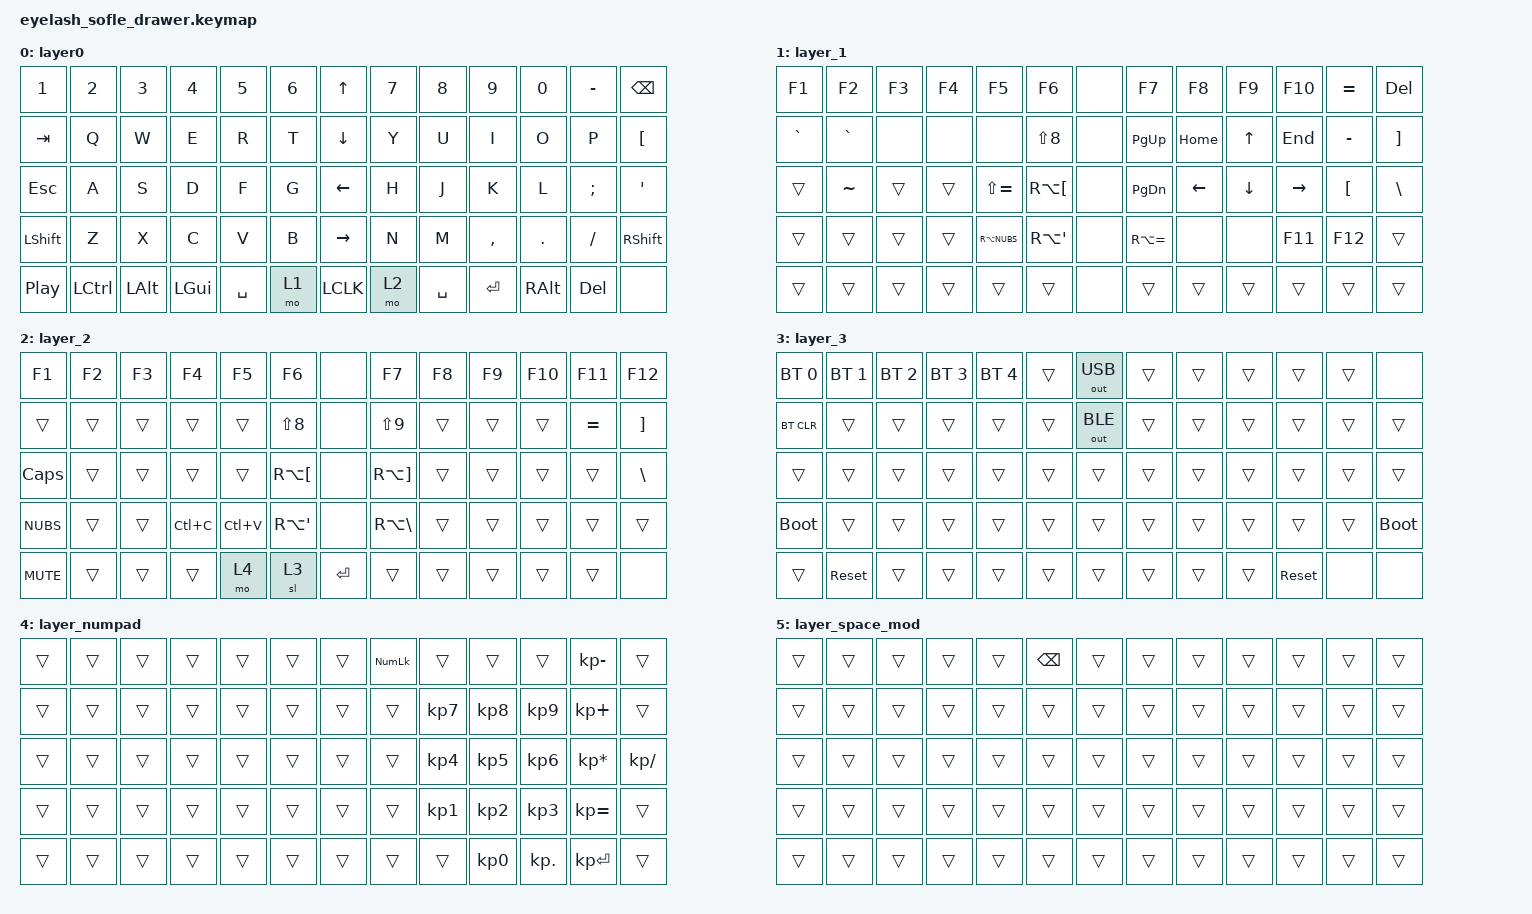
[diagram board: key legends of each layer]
#include <behaviors.dtsi>
#include <dt-bindings/zmk/keys.h>
#include <dt-bindings/zmk/bt.h>
#include <dt-bindings/zmk/outputs.h>
#include <dt-bindings/zmk/ext_power.h>
#include <dt-bindings/zmk/pointing.h>
#include <dt-bindings/zmk/rgb.h>

/ {
    keymap {
        compatible = "zmk,keymap";
        
        layer0 {
            bindings = <
 &kp N1         &kp N2    &kp N3       &kp N4       &kp N5            &kp N6 &kp UP    &kp N7 &kp N8    &kp N9    &kp N0   &kp MINUS  &kp BACKSPACE
 &kp TAB        &kp Q     &kp W        &kp E        &kp R             &kp T  &kp DOWN  &kp Y  &kp U     &kp I     &kp O    &kp P      &kp LBKT
 &kp ESC        &kp A     &kp S        &kp D        &kp F             &kp G  &kp LEFT  &kp H  &kp J     &kp K     &kp L    &kp SEMI   &kp APOS
 &kp LSHFT      &kp Z     &kp X        &kp C        &kp V             &kp B  &kp RIGHT &kp N  &kp M     &kp COMMA &kp DOT  &kp FSLH   &kp RSHIFT
 &kp C_PP       &kp LCTRL &kp LALT     &kp LGUI     &kp SPACE         &mo 1  &kp LCLK  &mo 2  &kp SPACE &kp ENTER &kp RALT &kp DEL    &none
            >;
        };
        
        layer_1 {
            bindings = <
&kp F1    &kp F2    &kp F3    &kp F4    &kp F5        &kp F6       &none    &kp F7        &kp F8        &kp F9        &kp F10   &kp EQUAL        &kp DEL
&kp GRAVE &kp GRAVE &none     &none     &none         &kp LS(N8)   &none    &kp PG_UP     &kp HOME      &kp UP        &kp END   &kp MINUS        &kp RBKT
&trans    &kp TILDE &trans    &trans    &kp LS(EQUAL) &kp RA(LBKT) &none    &kp PG_DN     &kp LEFT      &kp DOWN      &kp RIGHT &kp LBKT         &kp BSLH
&trans    &trans    &trans    &trans    &kp RA(NUBS)  &kp RA(APOS) &none    &kp RA(EQUAL) &none         &none         &kp F11   &kp F12          &trans
&trans    &trans    &trans    &trans    &trans        &trans       &none    &trans        &trans        &trans        &trans    &trans           &trans
            >;
        };
        
        layer_2 {
            bindings = <
&kp F1     &kp F2 &kp F3 &kp F4    &kp F5    &kp F6       &none    &kp F7       &kp F8 &kp F9 &kp F10 &kp F11   &kp F12
&trans     &trans &trans &trans    &trans    &kp LS(N8)   &none    &kp LS(N9)   &trans &trans &trans  &kp EQUAL &kp RBKT
&kp CAPS   &trans &trans &trans    &trans    &kp RA(LBKT) &none    &kp RA(RBKT) &trans &trans &trans  &trans    &kp BSLH
&kp NUBS   &trans &trans &kp LC(C) &kp LC(V) &kp RA(APOS) &none    &kp RA(BSLH) &trans &trans &trans  &trans    &trans
&kp C_MUTE &trans &trans &trans    &mo 4     &sl 3        &kp ENTER &trans      &trans &trans &trans  &trans    &none
            >;
        };
        
        layer_3 {
            bindings = <
&bt BT_SEL 0    &bt BT_SEL 1    &bt BT_SEL 2    &bt BT_SEL 3    &bt BT_SEL 4    &trans          &out OUT_USB &trans &trans &trans &trans     &trans &none
&bt BT_CLR      &trans          &trans          &trans          &trans          &trans          &out OUT_BLE &trans &trans &trans &trans     &trans &trans
&trans          &trans          &trans          &trans          &trans          &trans          &trans       &trans &trans &trans &trans     &trans &trans
&bootloader     &trans          &trans          &trans          &trans          &trans          &trans       &trans &trans &trans &trans     &trans &bootloader
&trans          &sys_reset      &trans          &trans          &trans          &trans          &trans       &trans &trans &trans &sys_reset  &none  &none
            >;
        };

        layer_numpad {
            bindings = <
                &trans &trans &trans &trans &trans &trans &trans &kp KP_NUM &trans    &trans    &trans     &kp KP_MINUS    &trans
                &trans &trans &trans &trans &trans &trans &trans &trans     &kp KP_N7 &kp KP_N8 &kp KP_N9  &kp KP_PLUS     &trans
                &trans &trans &trans &trans &trans &trans &trans &trans     &kp KP_N4 &kp KP_N5 &kp KP_N6  &kp KP_MULTIPLY &kp KP_SLASH
                &trans &trans &trans &trans &trans &trans &trans &trans     &kp KP_N1 &kp KP_N2 &kp KP_N3  &kp KP_EQUAL    &trans
                &trans &trans &trans &trans &trans &trans &trans &trans     &trans    &kp KP_N0 &kp KP_DOT &kp KP_ENTER    &trans
            >;
        };

        layer_space_mod {
            bindings = <
                &trans &trans &trans &trans &trans &kp BACKSPACE &trans &trans &trans &trans &trans &trans &trans
                &trans &trans &trans &trans &trans &trans        &trans &trans &trans &trans &trans &trans &trans
                &trans &trans &trans &trans &trans &trans        &trans &trans &trans &trans &trans &trans &trans
                &trans &trans &trans &trans &trans &trans        &trans &trans &trans &trans &trans &trans &trans
                &trans &trans &trans &trans &trans &trans        &trans &trans &trans &trans &trans &trans &trans
            >;
        };
    };
};
